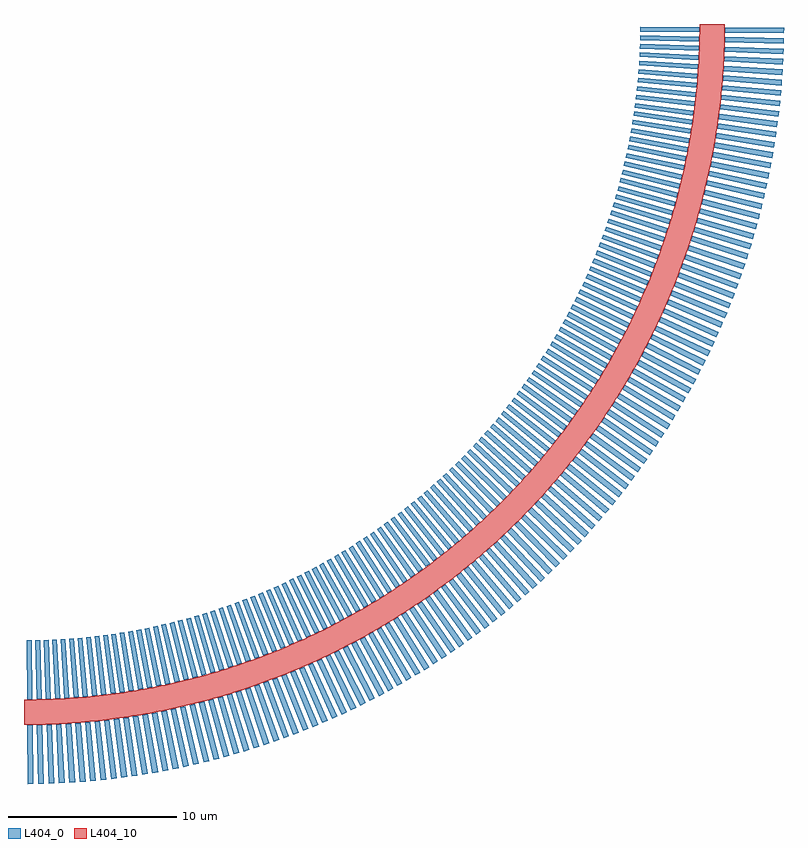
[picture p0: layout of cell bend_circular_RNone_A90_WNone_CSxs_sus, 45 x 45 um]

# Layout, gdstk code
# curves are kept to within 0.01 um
import gdstk
lib = gdstk.Library(unit=1e-6, precision=1e-09)
def P(c, l, *ps):  # polygons
    for p in ps: c.add(gdstk.Polygon(p, *l))
L404_0 = (404, 0)
L404_10 = (404, 10)

bend_circular_rnone_a90_ = lib.new_cell('bend_circular_RNone_A90_WNone_CSxs_sus')
P(bend_circular_rnone_a90_, L404_0, [(22.643,1.862),(20.882,4.886),(21.15,5.044),(22.934,2.033)],
  [(23.176,2.177),(21.373,5.177),(21.639,5.338),(23.464,2.352)],
  [(23.704,2.499),(21.86,5.474),(22.124,5.639),(23.99,2.678)],
  [(24.227,2.829),(22.343,5.778),(22.605,5.947),(24.511,3.011)],
  [(22.454,7.647),(20.489,10.544),(20.715,10.698),(22.702,7.816)],
  [(22.907,7.959),(20.903,10.828),(21.127,10.986),(23.153,8.132)],
  [(23.356,8.277),(21.312,11.118),(21.534,11.279),(23.599,8.453)],
  [(23.8,8.601),(21.718,11.414),(21.937,11.578),(24.041,8.781)],
  [(24.24,8.931),(22.119,11.716),(22.336,11.882),(24.478,9.114)],
  [(24.675,9.268),(22.516,12.022),(22.731,12.192),(24.911,9.454)],
  [(31.296,15.839),(28.558,18.019),(28.728,18.234),(31.482,16.075)],
  [(31.636,16.272),(28.868,18.414),(29.034,18.631),(31.819,16.51)],
  [(31.969,16.709),(29.172,18.813),(29.336,19.032),(32.149,16.95)],
  [(32.297,17.151),(29.471,19.216),(29.632,19.438),(32.473,17.394)],
  [(32.618,17.597),(29.764,19.623),(29.922,19.847),(32.791,17.843)],
  [(32.934,18.048),(30.052,20.035),(30.206,20.261),(33.103,18.296)],
  [(37.739,16.239),(34.803,18.145),(34.972,18.407),(37.921,16.523)],
  [(38.072,16.76),(35.111,18.626),(35.276,18.89),(38.251,17.046)],
  [(38.398,17.286),(35.412,19.111),(35.573,19.377),(38.573,17.574)],
  [(38.717,17.816),(35.706,19.6),(35.864,19.868),(38.888,18.107)],
  [(33.545,18.962),(30.61,20.869),(30.758,21.099),(33.708,19.214)],
  [(34.132,19.893),(31.145,21.718),(31.287,21.952),(34.287,20.149)],
  [(33.243,18.503),(30.334,20.45),(30.485,20.678),(33.409,18.753)],
  [(34.415,20.364),(31.404,22.148),(31.543,22.384),(34.567,20.623)],
  [(33.842,19.426),(30.881,21.291),(31.026,21.524),(34.001,19.68)],
  [(34.692,20.839),(31.657,22.581),(31.792,22.819),(34.841,21.1)],
  [(39.029,18.35),(35.993,20.093),(36.147,20.363),(39.196,18.644)],
  [(34.963,21.318),(31.904,23.018),(32.036,23.258),(35.108,21.581)],
  [(39.333,18.889),(36.274,20.589),(36.424,20.862),(39.496,19.185)],
  [(35.227,21.801),(32.144,23.459),(32.273,23.7),(35.368,22.065)],
  [(39.63,19.432),(36.548,21.09),(36.694,21.365),(39.789,19.73)],
  [(35.484,22.287),(32.379,23.902),(32.505,24.146),(35.621,22.554)],
  [(39.919,19.979),(36.815,21.595),(36.957,21.871),(40.074,20.279)],
  [(35.734,22.777),(32.608,24.349),(32.73,24.594),(35.868,23.045)],
  [(40.201,20.53),(37.075,22.103),(37.213,22.381),(40.352,20.832)],
  [(35.978,23.27),(32.83,24.799),(32.949,25.046),(36.108,23.54)],
  [(40.476,21.084),(37.327,22.614),(37.462,22.894),(40.622,21.389)],
  [(36.215,23.766),(33.046,25.252),(33.162,25.5),(36.342,24.038)],
  [(40.742,21.643),(37.573,23.129),(37.704,23.411),(40.884,21.949)],
  [(36.445,24.265),(33.256,25.708),(33.368,25.958),(36.568,24.539)],
  [(41.001,22.205),(37.812,23.647),(37.939,23.931),(41.139,22.513)],
  [(36.668,24.768),(33.46,26.167),(33.568,26.418),(36.787,25.044)],
  [(41.252,22.77),(38.044,24.169),(38.167,24.455),(41.386,23.08)],
  [(36.885,25.274),(33.657,26.628),(33.762,26.881),(37,25.551)],
  [(41.495,23.339),(38.268,24.693),(38.387,24.981),(41.625,23.651)],
  [(37.094,25.782),(33.848,27.092),(33.95,27.346),(37.205,26.061)],
  [(41.731,23.911),(38.485,25.221),(38.6,25.51),(41.856,24.225)],
  [(37.296,26.294),(34.033,27.559),(34.131,27.814),(37.404,26.574)],
  [(41.958,24.487),(38.695,25.752),(38.806,26.042),(42.079,24.802)],
  [(37.492,26.808),(34.211,28.028),(34.306,28.285),(37.595,27.09)],
  [(42.178,25.065),(38.898,26.285),(39.005,26.577),(42.295,25.382)],
  [(37.68,27.325),(34.383,28.5),(34.474,28.758),(37.779,27.608)],
  [(42.39,25.647),(39.093,26.821),(39.196,27.115),(42.502,25.965)],
  [(37.861,27.844),(34.548,28.973),(34.635,29.233),(37.957,28.128)],
  [(42.593,26.231),(39.281,27.36),(39.38,27.655),(42.701,26.551)],
  [(38.035,28.366),(34.707,29.45),(34.79,29.71),(38.126,28.652)],
  [(42.789,26.818),(39.461,27.902),(39.556,28.198),(42.892,27.139)],
  [(38.201,28.89),(34.859,29.928),(34.939,30.19),(38.289,29.177)],
  [(42.977,27.408),(39.634,28.445),(39.725,28.743),(43.075,27.73)],
  [(38.361,29.416),(35.004,30.408),(35.081,30.671),(38.445,29.704)],
  [(43.156,28),(39.799,28.991),(39.886,29.29),(43.25,28.324)],
  [(38.513,29.945),(35.143,30.89),(35.216,31.154),(38.593,30.234)],
  [(43.327,28.594),(39.957,29.54),(40.04,29.84),(43.417,28.92)],
  [(38.658,30.476),(35.275,31.375),(35.345,31.639),(38.734,30.766)],
  [(43.49,29.191),(40.108,30.09),(40.186,30.391),(43.576,29.518)],
  [(38.796,31.008),(35.401,31.86),(35.467,32.126),(38.868,31.299)],
  [(43.645,29.79),(40.25,30.643),(40.325,30.945),(43.726,30.118)],
  [(38.926,31.542),(35.52,32.348),(35.582,32.615),(38.994,31.835)],
  [(43.792,30.391),(40.386,31.197),(40.456,31.5),(43.868,30.72)],
  [(39.049,32.078),(35.632,32.837),(35.69,33.105),(39.113,32.372)],
  [(43.93,30.995),(40.513,31.753),(40.579,32.057),(44.002,31.324)],
  [(39.164,32.616),(35.737,33.328),(35.792,33.596),(39.224,32.91)],
  [(44.06,31.599),(40.633,32.311),(40.695,32.616),(44.127,31.93)],
  [(39.272,33.155),(35.836,33.82),(35.887,34.089),(39.328,33.45)],
  [(44.181,32.206),(40.745,32.871),(40.803,33.176),(44.244,32.538)],
  [(39.373,33.696),(35.928,34.313),(35.975,34.583),(39.425,33.992)],
  [(44.295,32.814),(40.85,33.432),(40.903,33.738),(44.353,33.147)],
  [(39.466,34.238),(36.013,34.808),(36.057,35.078),(39.514,34.534)],
  [(44.4,33.424),(40.946,33.994),(40.996,34.301),(44.453,33.757)],
  [(39.552,34.781),(36.091,35.304),(36.131,35.575),(39.596,35.078)],
  [(44.496,34.035),(41.035,34.558),(41.081,34.866),(44.545,34.369)],
  [(39.631,35.326),(36.163,35.8),(36.199,36.072),(39.67,35.623)],
  [(44.584,34.648),(41.117,35.122),(41.158,35.431),(44.629,34.982)],
  [(39.701,35.871),(36.227,36.298),(36.26,36.57),(39.737,36.169)],
  [(44.664,35.261),(41.19,35.688),(41.227,35.997),(44.704,35.597)],
  [(39.765,36.418),(36.285,36.797),(36.314,37.069),(39.796,36.716)],
  [(44.735,35.876),(41.256,36.255),(41.288,36.565),(44.771,36.212)],
  [(39.82,36.965),(36.336,37.296),(36.361,37.569),(39.848,37.264)],
  [(44.798,36.492),(41.314,36.823),(41.342,37.133),(44.829,36.828)],
  [(39.869,37.513),(36.38,37.796),(36.401,38.069),(39.892,37.812)],
  [(44.852,37.108),(41.364,37.391),(41.388,37.702),(44.878,37.444)],
  [(39.91,38.061),(36.417,38.296),(36.435,38.57),(39.929,38.36)],
  [(44.898,37.725),(41.406,37.96),(41.426,38.271),(44.92,38.062)],
  [(39.943,38.61),(36.448,38.797),(36.461,39.071),(39.958,38.91)],
  [(44.936,38.343),(41.441,38.53),(41.456,38.841),(44.952,38.68)],
  [(39.968,39.159),(36.471,39.299),(36.481,39.572),(39.979,39.459)],
  [(44.964,38.961),(41.467,39.1),(41.478,39.411),(44.977,39.298)],
  [(39.986,39.709),(36.488,39.8),(36.494,40.074),(39.993,40.009)],
  [(44.985,39.579),(41.486,39.67),(41.493,39.981),(44.992,39.917)],
  [(39.997,40.259),(36.497,40.302),(36.5,40.576),(40,40.559)],
  [(44.997,40.198),(41.497,40.241),(41.5,40.552),(44.999,40.535)],
  [(5.672,1.154),(5.175,4.619),(5.446,4.659),(5.969,1.198)],
  [(6.381,-3.795),(5.884,-0.331),(6.192,-0.285),(6.715,-3.746)],
  [(6.216,1.236),(5.672,4.693),(5.942,4.737),(6.512,1.284)],
  [(6.993,-3.703),(6.449,-0.246),(6.756,-0.196),(7.326,-3.65)],
  [(6.758,1.325),(6.167,4.775),(6.437,4.822),(7.054,1.377)],
  [(7.603,-3.603),(7.012,-0.153),(7.318,-0.1),(7.936,-3.545)],
  [(7.3,1.422),(6.661,4.863),(6.93,4.914),(7.595,1.478)],
  [(8.212,-3.494),(7.574,-0.053),(7.879,0.005),(8.544,-3.431)],
  [(7.84,1.526),(7.154,4.958),(7.422,5.013),(8.134,1.586)],
  [(8.82,-3.377),(8.134,0.055),(8.439,0.117),(9.151,-3.31)],
  [(8.378,1.637),(7.645,5.06),(7.913,5.118),(8.672,1.701)],
  [(9.426,-3.252),(8.693,0.171),(8.997,0.237),(9.755,-3.18)],
  [(8.915,1.756),(8.135,5.168),(8.402,5.23),(9.208,1.824)],
  [(10.03,-3.118),(9.25,0.294),(9.553,0.364),(10.359,-3.042)],
  [(9.451,1.882),(8.624,5.283),(8.89,5.349),(9.742,1.954)],
  [(10.632,-2.976),(9.805,0.425),(10.107,0.5),(10.96,-2.895)],
  [(9.984,2.016),(9.111,5.405),(9.375,5.475),(10.274,2.092)],
  [(11.232,-2.826),(10.359,0.564),(10.66,0.642),(11.559,-2.74)],
  [(10.516,2.157),(9.596,5.534),(9.86,5.607),(10.805,2.237)],
  [(11.83,-2.667),(10.91,0.71),(11.21,0.793),(12.156,-2.577)],
  [(11.046,2.305),(10.079,5.669),(10.342,5.746),(11.334,2.389)],
  [(12.426,-2.5),(11.46,0.864),(11.759,0.951),(12.75,-2.406)],
  [(11.573,2.461),(10.56,5.811),(10.822,5.891),(11.86,2.549)],
  [(13.02,-2.325),(12.007,1.025),(12.305,1.116),(13.342,-2.227)],
  [(12.098,2.624),(11.04,5.96),(11.3,6.043),(12.384,2.715)],
  [(13.611,-2.142),(12.552,1.194),(12.848,1.289),(13.932,-2.039)],
  [(12.622,2.793),(11.517,6.115),(11.777,6.202),(12.906,2.889)],
  [(14.199,-1.951),(13.095,1.37),(13.39,1.469),(14.519,-1.843)],
  [(13.142,2.971),(11.992,6.276),(12.25,6.367),(13.425,3.07)],
  [(14.785,-1.752),(13.635,1.554),(13.929,1.657),(15.103,-1.64)],
  [(13.66,3.155),(12.465,6.444),(12.722,6.539),(13.942,3.258)],
  [(15.368,-1.545),(14.173,1.745),(14.465,1.852),(15.685,-1.428)],
  [(14.176,3.346),(12.936,6.619),(13.191,6.717),(14.456,3.454)],
  [(15.948,-1.329),(14.708,1.944),(14.998,2.055),(16.263,-1.208)],
  [(14.689,3.545),(13.404,6.8),(13.658,6.902),(14.968,3.656)],
  [(16.525,-1.106),(15.24,2.15),(15.529,2.265),(16.839,-0.981)],
  [(15.199,3.75),(13.869,6.988),(14.122,7.093),(15.476,3.865)],
  [(17.099,-0.875),(15.769,2.363),(16.057,2.482),(17.411,-0.745)],
  [(15.706,3.963),(14.332,7.182),(14.583,7.29),(15.982,4.082)],
  [(17.67,-0.636),(16.295,2.583),(16.581,2.706),(17.98,-0.502)],
  [(16.211,4.182),(14.792,7.382),(15.042,7.494),(16.485,4.305)],
  [(18.237,-0.389),(16.819,2.811),(17.103,2.938),(18.545,-0.251)],
  [(16.712,4.408),(15.25,7.588),(15.498,7.704),(16.984,4.535)],
  [(18.801,-0.134),(17.339,3.046),(17.621,3.177),(19.107,0.008)],
  [(17.21,4.642),(15.704,7.801),(15.951,7.92),(17.48,4.772)],
  [(19.361,0.128),(17.856,3.288),(18.136,3.423),(19.666,0.274)],
  [(17.705,4.882),(16.156,8.02),(16.401,8.142),(17.973,5.016)],
  [(19.918,0.398),(18.369,3.537),(18.647,3.675),(20.22,0.549)],
  [(18.196,5.129),(16.604,8.245),(16.848,8.371),(18.463,5.266)],
  [(20.471,0.676),(18.879,3.793),(19.155,3.935),(20.771,0.831)],
  [(18.685,5.382),(17.05,8.477),(17.291,8.606),(18.949,5.523)],
  [(21.02,0.961),(19.385,4.056),(19.66,4.202),(21.318,1.12)],
  [(19.169,5.642),(17.492,8.714),(17.732,8.846),(19.432,5.787)],
  [(21.565,1.254),(19.888,4.326),(20.161,4.476),(21.861,1.417)],
  [(19.65,5.909),(17.931,8.958),(18.169,9.093),(19.911,6.058)],
  [(22.106,1.554),(20.387,4.603),(20.657,4.757),(22.4,1.721)],
  [(20.127,6.183),(18.366,9.207),(18.602,9.346),(20.386,6.335)],
  [(0.191,0.75),(0.174,4.25),(0.448,4.253),(0.491,0.753)],
  [(20.601,6.463),(18.798,9.463),(19.032,9.605),(20.857,6.618)],
  [(0.215,-4.249),(0.198,-0.75),(0.509,-0.747),(0.552,-4.247)],
  [(21.07,6.749),(19.226,9.724),(19.459,9.869),(21.324,6.908)],
  [(0.741,0.757),(0.676,4.256),(0.95,4.262),(1.041,0.764)],
  [(21.536,7.042),(19.651,9.992),(19.881,10.14),(21.788,7.205)],
  [(0.833,-4.242),(0.769,-0.743),(1.08,-0.736),(1.171,-4.235)],
  [(21.997,7.341),(20.072,10.265),(20.3,10.416),(22.247,7.507)],
  [(1.291,0.771),(1.178,4.269),(1.451,4.279),(1.591,0.782)],
  [(1.452,-4.227),(1.339,-0.728),(1.65,-0.717),(1.789,-4.214)],
  [(1.84,0.792),(1.679,4.289),(1.953,4.302),(2.14,0.807)],
  [(2.07,-4.202),(1.909,-0.706),(2.22,-0.691),(2.407,-4.186)],
  [(2.39,0.821),(2.18,4.315),(2.454,4.333),(2.689,0.84)],
  [(2.688,-4.17),(2.479,-0.676),(2.79,-0.656),(3.025,-4.148)],
  [(2.938,0.858),(2.681,4.349),(2.954,4.37),(3.237,0.881)],
  [(3.306,-4.128),(3.048,-0.638),(3.359,-0.614),(3.642,-4.102)],
  [(3.486,0.902),(3.181,4.389),(3.454,4.414),(3.785,0.93)],
  [(3.922,-4.079),(3.617,-0.592),(3.927,-0.564),(4.258,-4.048)],
  [(4.034,0.954),(3.681,4.436),(3.953,4.465),(4.332,0.985)],
  [(4.538,-4.021),(4.185,-0.538),(4.495,-0.506),(4.874,-3.985)],
  [(4.581,1.013),(4.18,4.49),(4.452,4.523),(4.879,1.049)],
  [(5.153,-3.954),(4.753,-0.477),(5.062,-0.44),(5.489,-3.914)],
  [(5.127,1.08),(4.678,4.551),(4.95,4.587),(5.424,1.119)],
  [(5.768,-3.879),(5.319,-0.408),(5.628,-0.367),(6.102,-3.834)],
  [(25.771,3.86),(23.766,6.729),(24.021,6.908),(26.047,4.054)],
  [(36.334,14.201),(33.508,16.266),(33.691,16.518),(36.532,14.475)],
  [(27.27,4.954),(25.149,7.738),(25.396,7.928),(27.538,5.16)],
  [(36.696,14.703),(33.842,16.729),(34.021,16.984),(36.89,14.979)],
  [(25.261,3.509),(23.296,6.406),(23.553,6.581),(25.54,3.7)],
  [(37.05,15.21),(34.169,17.197),(34.344,17.454),(37.241,15.489)],
  [(27.76,5.332),(25.601,8.087),(25.845,8.28),(28.024,5.542)],
  [(37.398,15.722),(34.489,17.669),(34.661,17.928),(37.585,16.003)],
  [(25.106,9.61),(22.909,12.335),(23.121,12.507),(25.339,9.799)],
  [(28.244,5.717),(26.047,8.442),(26.289,8.638),(28.506,5.93)],
  [(25.532,9.958),(23.298,12.652),(23.508,12.828),(25.762,10.15)],
  [(28.723,6.109),(26.489,8.803),(26.728,9.003),(28.982,6.326)],
  [(25.953,10.312),(23.682,12.975),(23.889,13.154),(26.18,10.508)],
  [(29.197,6.507),(26.926,9.171),(27.162,9.373),(29.453,6.727)],
  [(26.369,10.672),(24.061,13.304),(24.266,13.485),(26.593,10.87)],
  [(29.665,6.912),(27.357,9.544),(27.591,9.75),(29.918,7.135)],
  [(26.78,11.037),(24.436,13.637),(24.639,13.821),(27.002,11.239)],
  [(30.127,7.323),(27.784,9.923),(28.014,10.132),(30.377,7.55)],
  [(27.186,11.408),(24.807,13.976),(25.007,14.162),(27.405,11.613)],
  [(30.584,7.74),(28.205,10.308),(28.433,10.52),(30.831,7.971)],
  [(27.587,11.785),(25.173,14.319),(25.37,14.509),(27.803,11.992)],
  [(31.035,8.164),(28.621,10.699),(28.846,10.914),(31.278,8.398)],
  [(27.982,12.167),(25.534,14.668),(25.729,14.86),(28.196,12.377)],
  [(31.48,8.594),(29.031,11.095),(29.253,11.314),(31.72,8.831)],
  [(28.373,12.554),(25.89,15.021),(26.082,15.216),(28.583,12.768)],
  [(31.919,9.03),(29.436,11.497),(29.655,11.719),(32.156,9.27)],
  [(28.758,12.947),(26.241,15.38),(26.431,15.577),(28.965,13.163)],
  [(32.352,9.472),(29.836,11.904),(30.051,12.129),(32.586,9.715)],
  [(29.137,13.345),(26.588,15.743),(26.774,15.943),(29.342,13.564)],
  [(32.779,9.919),(30.23,12.317),(30.442,12.545),(33.01,10.166)],
  [(29.511,13.748),(26.929,16.111),(27.113,16.314),(29.713,13.97)],
  [(33.2,10.373),(30.618,12.736),(30.827,12.966),(33.427,10.623)],
  [(29.88,14.157),(27.265,16.484),(27.446,16.689),(30.078,14.381)],
  [(33.615,10.832),(31,13.159),(31.206,13.393),(33.838,11.085)],
  [(30.242,14.57),(27.596,16.861),(27.775,17.068),(30.438,14.797)],
  [(34.023,11.297),(31.377,13.588),(31.579,13.824),(34.243,11.553)],
  [(30.6,14.988),(27.922,17.242),(28.098,17.452),(30.792,15.218)],
  [(34.424,11.768),(31.747,14.022),(31.947,14.261),(34.641,12.027)],
  [(30.951,15.411),(28.243,17.629),(28.415,17.841),(31.14,15.644)],
  [(34.82,12.244),(32.112,14.461),(32.308,14.703),(35.033,12.506)],
  [(26.275,4.218),(24.232,7.059),(24.484,7.242),(26.549,4.416)],
  [(35.208,12.726),(32.47,14.905),(32.663,15.149),(35.418,12.99)],
  [(24.747,3.165),(22.822,6.089),(23.081,6.261),(25.028,3.352)],
  [(35.59,13.212),(32.822,15.354),(33.012,15.601),(35.796,13.48)],
  [(26.775,4.583),(24.693,7.396),(24.942,7.582),(27.046,4.784)],
  [(35.966,13.704),(33.168,15.808),(33.354,16.057),(36.167,13.975)])
P(bend_circular_rnone_a90_, L404_10, [(0,-0.75),(0,0.75),(0.993,0.762),(2.234,0.812),(3.225,0.88),(4.214,0.973),(5.201,1.09),(6.429,1.27),(7.407,1.442),(8.624,1.691),(9.832,1.977),(10.792,2.233),(11.745,2.513),(12.926,2.896),(13.862,3.229),(15.02,3.677),(16.164,4.161),(16.842,4.469),(18.403,5.235),(19.928,6.068),(21.416,6.966),(22.864,7.929),(24.268,8.953),(25.627,10.037),(26.937,11.18),(28.196,12.378),(29.402,13.63),(30.553,14.933),(31.646,16.285),(32.679,17.683),(33.65,19.124),(34.558,20.607),(35.4,22.127),(36.176,23.683),(36.589,24.586),(36.979,25.5),(37.346,26.423),(37.773,27.589),(38.088,28.531),(38.449,29.719),(38.773,30.918),(39.005,31.884),(39.213,32.855),(39.439,34.076),(39.593,35.057),(39.75,36.289),(39.87,37.525),(39.938,38.516),(39.988,39.757),(40,40.75),(41.5,40.75),(41.487,39.719),(41.449,38.69),(41.385,37.661),(41.295,36.634),(41.212,35.866),(41.04,34.589),(40.874,33.572),(40.684,32.559),(40.468,31.551),(40.227,30.549),(39.746,28.811),(39.437,27.828),(39.104,26.852),(38.747,25.886),(38.366,24.928),(37.961,23.98),(37.533,23.043),(36.728,21.429),(36.237,20.523),(35.723,19.629),(35.188,18.749),(34.631,17.882),(34.052,17.029),(33.453,16.19),(32.832,15.367),(32.192,14.56),(31.532,13.769),(30.852,12.994),(30.153,12.236),(29.436,11.496),(28.7,10.774),(27.947,10.071),(27.177,9.386),(26.39,8.721),(25.586,8.076),(24.767,7.45),(23.297,6.406),(22.437,5.838),(21.563,5.292),(20.676,4.767),(19.776,4.265),(18.864,3.785),(17.94,3.328),(17.005,2.894),(16.06,2.483),(15.105,2.096),(14.14,1.733),(13.167,1.394),(12.185,1.079),(11.197,0.789),(10.201,0.523),(9.199,0.282),(8.191,0.066),(7.178,-0.124),(6.161,-0.29),(4.884,-0.462),(4.116,-0.545),(3.089,-0.635),(2.06,-0.699),(1.031,-0.737)])

lib.write_gds('bend_circular_RNone_A90_WNone_CSxs_sus.gds')
